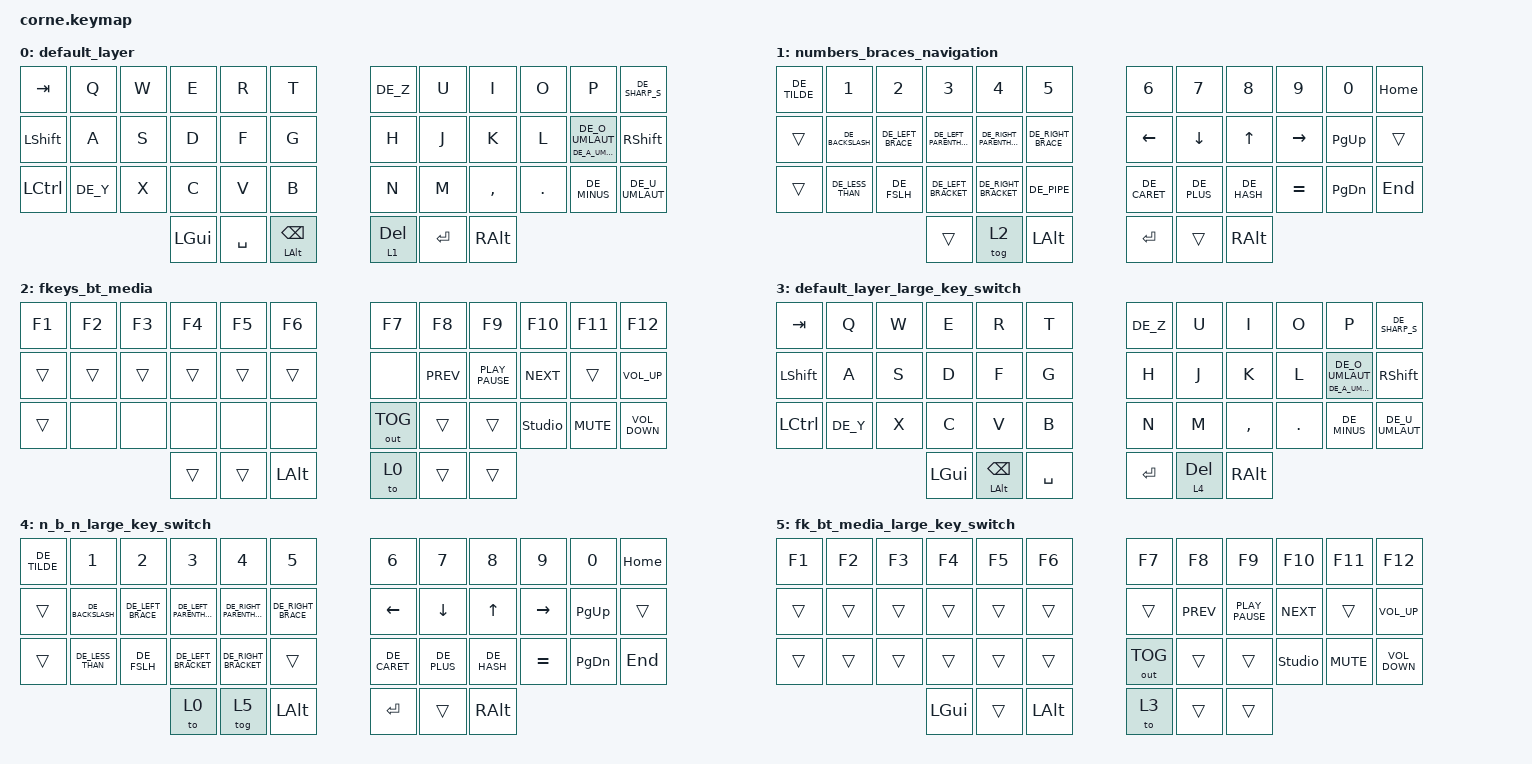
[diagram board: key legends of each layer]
/*
 * Copyright (c) 2020 The ZMK Contributors
 *
 * SPDX-License-Identifier: MIT
 */

#include "keys_de.h"
#include <behaviors.dtsi>
#include <dt-bindings/zmk/bt.h>
#include <dt-bindings/zmk/keys.h>
#include <dt-bindings/zmk/outputs.h>

&soft_off { hold-time-ms = <5000>; };

&lt { quick-tap-ms = <200>; };

&mt { quick-tap-ms = <200>; };

/ {
    combos {
        compatible = "zmk,combos";

        Escape {
            bindings = <&kp ESCAPE>;
            key-positions = <19 20>;
        };

        Select_Clear_BT0 {
            bindings = <&BT_Combo 0 0>;
            key-positions = <25 18>;
            layers = <2 5>;
        };

        Select_Clear_BT1 {
            bindings = <&BT_Combo 1 1>;
            key-positions = <18 26>;
            layers = <2 5>;
        };

        Select_Clear_BT2 {
            bindings = <&BT_Combo 2 2>;
            key-positions = <18 27>;
            layers = <2 5>;
        };

        Select_Clear_BT3 {
            bindings = <&BT_Combo 3 3>;
            key-positions = <18 28>;
            layers = <2 5>;
        };

        Select_Clear_BT4 {
            bindings = <&BT_Combo 4 4>;
            key-positions = <18 29>;
            layers = <2 5>;
        };

        MySoftOff {
            bindings = <&soft_off>;
            key-positions = <0 38 24>;
        };
    };

    behaviors {
        BT_Combo: BT_Combo {
            compatible = "zmk,behavior-hold-tap";
            label = "BT_COMBO";
            bindings = <&Clear_BT>, <&Select_BT>;

            #binding-cells = <2>;
            tapping-term-ms = <4000>;
        };
    };

    macros {
        Clear_BT: Clear_BT {
            compatible = "zmk,behavior-macro-one-param";
            #binding-cells = <1>;
            bindings = <&macro_param_1to2 &bt BT_SEL MACRO_PLACEHOLDER &bt BT_CLR>;
            label = "CLEAR_BT";
        };

        Select_BT: Select_BT {
            compatible = "zmk,behavior-macro-one-param";
            #binding-cells = <1>;
            bindings = <&macro_param_1to2 &bt BT_SEL MACRO_PLACEHOLDER>;
            label = "SELECT_BT";
        };
    };

    keymap {
        compatible = "zmk,keymap";

        default_layer {
            // -----------------------------------------------------------------------------------------
            // |  TAB |  Q  |  W  |  E  |  R  |  T  |   |  Y  |  U   |  I  |  O  |  P  | BSPC |
            // | CTRL |  A  |  S  |  D  |  F  |  G  |   |  H  |  J   |  K  |  L  |  ;  |  '   |
            // | SHFT |  Z  |  X  |  C  |  V  |  B  |   |  N  |  M   |  ,  |  .  |  /  | ESC  |
            //                    | GUI | LWR | SPC |   | ENT | RSE  | ALT |

            bindings = <
&kp TAB           &kp Q     &kp W  &kp E     &kp R      &kp T                     &kp DE_Z      &kp U    &kp I      &kp O    &kp P                        &kp DE_SHARP_S
&kp LEFT_SHIFT    &kp A     &kp S  &kp D     &kp F      &kp G                     &kp H         &kp J    &kp K      &kp L    &mt DE_A_UMLAUT DE_O_UMLAUT  &kp RSHIFT
&kp LEFT_CONTROL  &kp DE_Y  &kp X  &kp C     &kp V      &kp B                     &kp N         &kp M    &kp COMMA  &kp DOT  &kp DE_MINUS                 &kp DE_U_UMLAUT
                                   &kp LGUI  &kp SPACE  &mt LEFT_ALT BACKSPACE    &lt 1 DELETE  &kp RET  &kp RALT
            >;
        };

        numbers_braces_navigation {
            // -----------------------------------------------------------------------------------------
            // |  TAB |  1  |  2  |  3  |  4  |  5  |   |  6  |  7  |  8  |  9  |  0  | BSPC |
            // | BTCLR| BT1 | BT2 | BT3 | BT4 | BT5 |   | LFT | DWN |  UP | RGT |     |      |
            // | SHFT |     |     |     |     |     |   |     |     |     |     |     |      |
            //                    | GUI |     | SPC |   | ENT |     | ALT |

            bindings = <
&kp DE_TILDE  &kp N1            &kp N2             &kp N3                   &kp N4                    &kp N5                &kp N6        &kp N7       &kp N8       &kp N9     &kp N0         &kp HOME
&trans        &kp DE_BACKSLASH  &kp DE_LEFT_BRACE  &kp DE_LEFT_PARENTHESIS  &kp DE_RIGHT_PARENTHESIS  &kp DE_RIGHT_BRACE    &kp LEFT      &kp DOWN     &kp UP       &kp RIGHT  &kp PAGE_UP    &trans
&trans        &kp DE_LESS_THAN  &kp DE_FSLH        &kp DE_LEFT_BRACKET      &kp DE_RIGHT_BRACKET      &kp DE_PIPE           &kp DE_CARET  &kp DE_PLUS  &kp DE_HASH  &kp EQUAL  &kp PAGE_DOWN  &kp END
                                                   &trans                   &tog 2                    &kp LEFT_ALT          &kp RET       &trans       &kp RALT
            >;
        };

        fkeys_bt_media {
            // -----------------------------------------------------------------------------------------
            // |  TAB |  !  |  @  |  #  |  $  |  %  |   |  ^  |  &  |  *  |  (  |  )  | BSPC |
            // | CTRL |     |     |     |     |     |   |  -  |  =  |  [  |  ]  |  \  |  `   |
            // | SHFT |     |     |     |     |     |   |  _  |  +  |  {  |  }  | "|" |  ~   |
            //                    | GUI |     | SPC |   | ENT |     | ALT |

            bindings = <
&kp F1  &kp F2  &kp F3  &kp F4  &kp F5  &kp F6      &kp F7        &kp F8      &kp F9            &kp F10         &kp F11     &kp F12
&trans  &trans  &trans  &trans  &trans  &trans      &none         &kp K_PREV  &kp K_PLAY_PAUSE  &kp K_NEXT      &trans      &kp C_VOLUME_UP
&trans  &none   &none   &none   &none   &none       &out OUT_TOG  &trans      &trans            &studio_unlock  &kp K_MUTE  &kp C_VOLUME_DOWN
                        &trans  &trans  &kp LALT    &to 0         &trans      &trans
            >;
        };

        default_layer_large_key_switch {
            bindings = <
&kp TAB           &kp Q     &kp W  &kp E     &kp R                   &kp T        &kp DE_Z  &kp U         &kp I      &kp O    &kp P                        &kp DE_SHARP_S
&kp LEFT_SHIFT    &kp A     &kp S  &kp D     &kp F                   &kp G        &kp H     &kp J         &kp K      &kp L    &mt DE_A_UMLAUT DE_O_UMLAUT  &kp RSHIFT
&kp LEFT_CONTROL  &kp DE_Y  &kp X  &kp C     &kp V                   &kp B        &kp N     &kp M         &kp COMMA  &kp DOT  &kp DE_MINUS                 &kp DE_U_UMLAUT
                                   &kp LGUI  &mt LEFT_ALT BACKSPACE  &kp SPACE    &kp RET   &lt 4 DELETE  &kp RALT
            >;
        };

        n_b_n_large_key_switch {
            bindings = <
&kp DE_TILDE  &kp N1            &kp N2             &kp N3                   &kp N4                    &kp N5                &kp N6        &kp N7       &kp N8       &kp N9     &kp N0         &kp HOME
&trans        &kp DE_BACKSLASH  &kp DE_LEFT_BRACE  &kp DE_LEFT_PARENTHESIS  &kp DE_RIGHT_PARENTHESIS  &kp DE_RIGHT_BRACE    &kp LEFT      &kp DOWN     &kp UP       &kp RIGHT  &kp PAGE_UP    &trans
&trans        &kp DE_LESS_THAN  &kp DE_FSLH        &kp DE_LEFT_BRACKET      &kp DE_RIGHT_BRACKET      &trans                &kp DE_CARET  &kp DE_PLUS  &kp DE_HASH  &kp EQUAL  &kp PAGE_DOWN  &kp END
                                                   &to 0                    &tog 5                    &kp LEFT_ALT          &kp RET       &trans       &kp RALT
            >;
        };

        fk_bt_media_large_key_switch {
            bindings = <
&kp F1  &kp F2  &kp F3  &kp F4    &kp F5  &kp F6      &kp F7        &kp F8      &kp F9            &kp F10         &kp F11     &kp F12
&trans  &trans  &trans  &trans    &trans  &trans      &trans        &kp K_PREV  &kp K_PLAY_PAUSE  &kp K_NEXT      &trans      &kp C_VOLUME_UP
&trans  &trans  &trans  &trans    &trans  &trans      &out OUT_TOG  &trans      &trans            &studio_unlock  &kp K_MUTE  &kp C_VOLUME_DOWN
                        &kp LGUI  &trans  &kp LALT    &to 3         &trans      &trans
            >;
        };
    };
};
